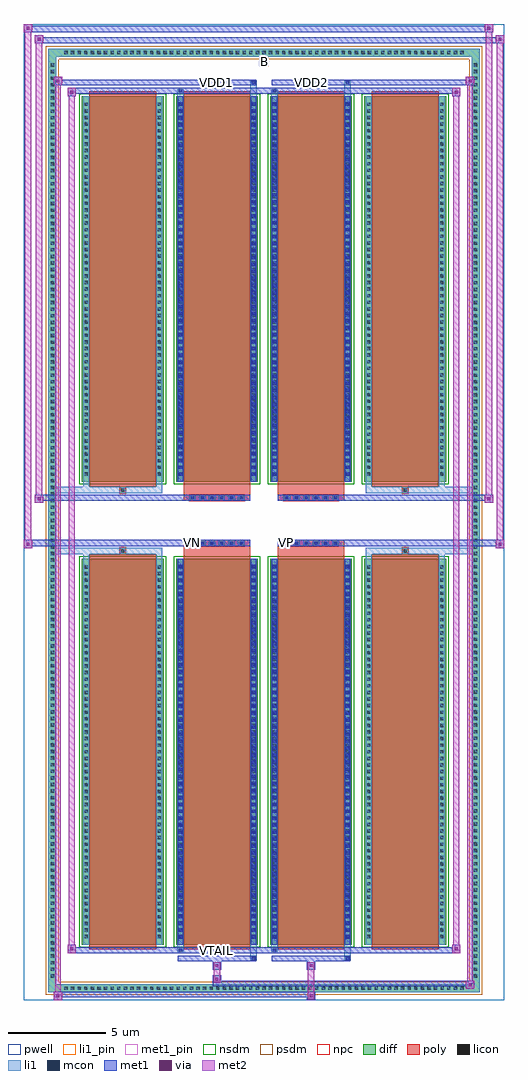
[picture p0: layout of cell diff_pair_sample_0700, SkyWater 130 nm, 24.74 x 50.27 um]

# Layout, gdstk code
import gdstk
lib = gdstk.Library(unit=1e-6, precision=5e-09)
def R(c, l, rs):  # rectangles x0, y0, x1, y1
    for r in rs: c.add(gdstk.rectangle(r[:2], r[2:], *l))
def A(c, l, x, y, w, h, nx, ny, dx, dy):  # array of equal rectangles
    R(c, l, [(x+i*dx, y+j*dy, x+i*dx+w, y+j*dy+h) for i in range(nx) for j in range(ny)])
def P(c, l, *ps):  # polygons
    for p in ps: c.add(gdstk.Polygon(p, *l))
pwell = (64, 44)
diff = (65, 20)
poly = (66, 20)
licon = (66, 44)
li1_pin = (67, 16)
li1 = (67, 20)
mcon = (67, 44)
met1_pin = (68, 16)
met1 = (68, 20)
via = (68, 44)
met2 = (69, 20)
nsdm = (93, 44)
psdm = (94, 20)
npc = (95, 20)

diff_pair_sample_0700 = lib.new_cell('diff_pair_sample_0700')
R(diff_pair_sample_0700, pwell, [(-12.37,-24.7,12.37,25.57), (-9.69,-22.89,-0.01,-0.805), (0.01,-22.89,9.69,-0.805), (-9.69,0.805,-0.01,22.89), (0.01,0.805,9.69,22.89)])
A(diff_pair_sample_0700, diff, -10.405, -24.3, 0.41, 0.41, 61, 2, 0.34, 48.19)
A(diff_pair_sample_0700, diff, -11.1, -23.665, 0.41, 0.41, 1, 139, 0, 0.34)
A(diff_pair_sample_0700, diff, 10.69, -23.665, 0.41, 0.41, 1, 139, 0, 0.34)
A(diff_pair_sample_0700, diff, -9.38, -21.845, 4.21, 19.86, 4, 2, 4.85, 23.83)
R(diff_pair_sample_0700, diff, [(-10.405,-24.3,10.405,-23.89), (-11.1,-23.665,-10.69,23.665), (10.69,-23.665,11.1,23.665), (-10.405,23.89,10.405,24.3)])
P(diff_pair_sample_0700, diff, [(11.1,24.3),(-11.1,24.3),(-11.1,-23.89),(-10.69,-23.89),(-10.69,23.89),(10.69,23.89),(10.69,-23.89),(-10.69,-23.89),(-11.1,-23.89),(-11.1,-24.3),(11.1,-24.3)])
A(diff_pair_sample_0700, poly, -8.99, -22.095, 3.43, 20.36, 4, 2, 4.85, 23.83)
A(diff_pair_sample_0700, poly, -3.84, -1.335, 0.33, 0.33, 6, 2, 0.5, 2.34)
A(diff_pair_sample_0700, poly, 1.01, -1.335, 0.33, 0.33, 6, 2, 0.5, 2.34)
R(diff_pair_sample_0700, poly, [(-7.44,-1.735,-7.11,-1.405), (-7.44,-1.735,-7.11,-1.405), (-4.14,-1.735,-0.71,-1.335), (0.71,-1.735,4.14,-1.335), (7.11,-1.735,7.44,-1.405), (7.11,-1.735,7.44,-1.405), (-4.14,-1.335,-0.71,-1.005), (0.71,-1.335,4.14,-1.005), (-4.14,1.005,-0.71,1.335), (0.71,1.005,4.14,1.335), (-4.14,1.335,-0.71,1.735), (0.71,1.335,4.14,1.735), (-7.44,1.405,-7.11,1.735), (-7.44,1.405,-7.11,1.735), (7.11,1.405,7.44,1.735), (7.11,1.405,7.44,1.735)])
A(diff_pair_sample_0700, licon, -10.285, -24.18, 0.17, 0.17, 61, 2, 0.34, 48.19)
A(diff_pair_sample_0700, licon, -10.98, -23.545, 0.17, 0.17, 1, 139, 0, 0.34)
A(diff_pair_sample_0700, licon, 10.81, -23.545, 0.17, 0.17, 1, 139, 0, 0.34)
A(diff_pair_sample_0700, licon, -9.24, -21.52, 0.17, 0.17, 1, 57, 0, 0.34)
A(diff_pair_sample_0700, licon, -5.48, -21.52, 0.17, 0.17, 1, 57, 0, 0.34)
A(diff_pair_sample_0700, licon, -4.39, -21.52, 0.17, 0.17, 1, 57, 0, 0.34)
A(diff_pair_sample_0700, licon, -0.63, -21.52, 0.17, 0.17, 1, 57, 0, 0.34)
A(diff_pair_sample_0700, licon, 0.46, -21.52, 0.17, 0.17, 1, 57, 0, 0.34)
A(diff_pair_sample_0700, licon, 4.22, -21.52, 0.17, 0.17, 1, 57, 0, 0.34)
A(diff_pair_sample_0700, licon, 5.31, -21.52, 0.17, 0.17, 1, 57, 0, 0.34)
A(diff_pair_sample_0700, licon, 9.07, -21.52, 0.17, 0.17, 1, 57, 0, 0.34)
A(diff_pair_sample_0700, licon, -3.76, -1.255, 0.17, 0.17, 6, 2, 0.5, 2.34)
A(diff_pair_sample_0700, licon, 1.09, -1.255, 0.17, 0.17, 6, 2, 0.5, 2.34)
A(diff_pair_sample_0700, licon, -9.24, 2.31, 0.17, 0.17, 1, 57, 0, 0.34)
A(diff_pair_sample_0700, licon, -5.48, 2.31, 0.17, 0.17, 1, 57, 0, 0.34)
A(diff_pair_sample_0700, licon, -4.39, 2.31, 0.17, 0.17, 1, 57, 0, 0.34)
A(diff_pair_sample_0700, licon, -0.63, 2.31, 0.17, 0.17, 1, 57, 0, 0.34)
A(diff_pair_sample_0700, licon, 0.46, 2.31, 0.17, 0.17, 1, 57, 0, 0.34)
A(diff_pair_sample_0700, licon, 4.22, 2.31, 0.17, 0.17, 1, 57, 0, 0.34)
A(diff_pair_sample_0700, licon, 5.31, 2.31, 0.17, 0.17, 1, 57, 0, 0.34)
A(diff_pair_sample_0700, licon, 9.07, 2.31, 0.17, 0.17, 1, 57, 0, 0.34)
R(diff_pair_sample_0700, licon, [(-7.36,-1.655,-7.19,-1.485), (7.19,-1.655,7.36,-1.485), (-7.36,1.485,-7.19,1.655), (7.19,1.485,7.36,1.655)])
R(diff_pair_sample_0700, li1_pin, [(-0.25,23.39,0.25,23.89)])
A(diff_pair_sample_0700, li1, -10.365, -24.26, 0.33, 0.33, 61, 2, 0.34, 48.19)
A(diff_pair_sample_0700, li1, -11.06, -23.625, 0.33, 0.33, 1, 139, 0, 0.34)
A(diff_pair_sample_0700, li1, 10.73, -23.625, 0.33, 0.33, 1, 139, 0, 0.34)
A(diff_pair_sample_0700, li1, -9.32, -21.6, 0.33, 0.33, 1, 57, 0, 0.34)
A(diff_pair_sample_0700, li1, -5.56, -21.6, 0.33, 0.33, 1, 57, 0, 0.34)
A(diff_pair_sample_0700, li1, -4.47, -21.6, 0.33, 0.33, 1, 57, 0, 0.34)
A(diff_pair_sample_0700, li1, -0.71, -21.6, 0.33, 0.33, 1, 57, 0, 0.34)
A(diff_pair_sample_0700, li1, 0.38, -21.6, 0.33, 0.33, 1, 57, 0, 0.34)
A(diff_pair_sample_0700, li1, 4.14, -21.6, 0.33, 0.33, 1, 57, 0, 0.34)
A(diff_pair_sample_0700, li1, 5.23, -21.6, 0.33, 0.33, 1, 57, 0, 0.34)
A(diff_pair_sample_0700, li1, 8.99, -21.6, 0.33, 0.33, 1, 57, 0, 0.34)
A(diff_pair_sample_0700, li1, -4.39, -21.54, 0.17, 0.17, 1, 54, 0, 0.36)
A(diff_pair_sample_0700, li1, -0.63, -21.54, 0.17, 0.17, 1, 54, 0, 0.36)
A(diff_pair_sample_0700, li1, 0.46, -21.54, 0.17, 0.17, 1, 54, 0, 0.36)
A(diff_pair_sample_0700, li1, 4.22, -21.54, 0.17, 0.17, 1, 54, 0, 0.36)
A(diff_pair_sample_0700, li1, -3.84, -1.335, 0.33, 0.33, 6, 2, 0.5, 2.34)
A(diff_pair_sample_0700, li1, 1.01, -1.335, 0.33, 0.33, 6, 2, 0.5, 2.34)
A(diff_pair_sample_0700, li1, -9.32, 2.23, 0.33, 0.33, 1, 57, 0, 0.34)
A(diff_pair_sample_0700, li1, -5.56, 2.23, 0.33, 0.33, 1, 57, 0, 0.34)
A(diff_pair_sample_0700, li1, -4.47, 2.23, 0.33, 0.33, 1, 57, 0, 0.34)
A(diff_pair_sample_0700, li1, -0.71, 2.23, 0.33, 0.33, 1, 57, 0, 0.34)
A(diff_pair_sample_0700, li1, 0.38, 2.23, 0.33, 0.33, 1, 57, 0, 0.34)
A(diff_pair_sample_0700, li1, 4.14, 2.23, 0.33, 0.33, 1, 57, 0, 0.34)
A(diff_pair_sample_0700, li1, 5.23, 2.23, 0.33, 0.33, 1, 57, 0, 0.34)
A(diff_pair_sample_0700, li1, 8.99, 2.23, 0.33, 0.33, 1, 57, 0, 0.34)
A(diff_pair_sample_0700, li1, -4.39, 2.29, 0.17, 0.17, 1, 54, 0, 0.36)
A(diff_pair_sample_0700, li1, -0.63, 2.29, 0.17, 0.17, 1, 54, 0, 0.36)
A(diff_pair_sample_0700, li1, 0.46, 2.29, 0.17, 0.17, 1, 54, 0, 0.36)
A(diff_pair_sample_0700, li1, 4.22, 2.29, 0.17, 0.17, 1, 54, 0, 0.36)
R(diff_pair_sample_0700, li1, [(-11.1,-24.3,-10.69,-23.89), (-11.1,-24.3,-10.69,-23.89), (-10.69,-24.3,10.69,-23.89), (10.69,-24.3,11.1,-23.89), (10.69,-24.3,11.1,-23.89), (-11.1,-23.89,-10.69,23.89), (10.69,-23.89,11.1,23.89), (-0.71,-22.65,-0.38,-21.845), (-0.63,-22.65,-0.46,-22.48), (4.14,-22.65,4.47,-21.845), (4.22,-22.65,4.39,-22.48), (-4.47,-22.22,-4.14,-21.845), (-4.39,-22.22,-4.22,-22.05), (0.38,-22.22,0.71,-21.845), (0.46,-22.22,0.63,-22.05), (-9.32,-21.845,-8.99,-1.985), (-5.56,-21.845,-5.23,-1.985), (-4.47,-21.845,-4.14,-1.985), (-0.71,-21.845,-0.38,-1.985), (0.38,-21.845,0.71,-1.985), (4.14,-21.845,4.47,-1.985), (5.23,-21.845,5.56,-1.985), (8.99,-21.845,9.32,-1.985), (-4.39,-21.54,-4.22,-2.29), (-0.63,-21.54,-0.46,-2.29), (0.46,-21.54,0.63,-2.29), (4.22,-21.54,4.39,-2.29), (-9.32,-1.985,-8.99,-1.405), (-5.56,-1.985,-5.23,-1.405), (5.23,-1.985,5.56,-1.405), (8.99,-1.985,9.32,-1.405), (-11.1,-1.735,-7.44,-1.405), (-9.32,-1.735,-7.44,-1.405), (-7.44,-1.735,-7.11,-1.405), (-7.11,-1.735,-5.23,-1.405), (5.23,-1.735,7.11,-1.405), (7.11,-1.735,7.44,-1.405), (7.11,-1.735,11.1,-1.405), (7.44,-1.735,9.32,-1.405), (-11.1,1.405,-7.44,1.735), (-9.32,1.405,-7.44,1.735), (-9.32,1.405,-8.99,1.985), (-7.44,1.405,-7.11,1.735), (-7.11,1.405,-5.23,1.735), (-5.56,1.405,-5.23,1.985), (5.23,1.405,7.11,1.735), (5.23,1.405,5.56,1.985), (7.11,1.405,7.44,1.735), (7.11,1.405,11.1,1.735), (7.44,1.405,9.32,1.735), (8.99,1.405,9.32,1.985), (-9.32,1.985,-8.99,21.845), (-5.56,1.985,-5.23,21.845), (-4.47,1.985,-4.14,21.845), (-0.71,1.985,-0.38,21.845), (0.38,1.985,0.71,21.845), (4.14,1.985,4.47,21.845), (5.23,1.985,5.56,21.845), (8.99,1.985,9.32,21.845), (-4.39,2.29,-4.22,21.54), (-0.63,2.29,-0.46,21.54), (0.46,2.29,0.63,21.54), (4.22,2.29,4.39,21.54), (-4.47,21.845,-4.14,22.22), (-0.71,21.845,-0.38,22.65), (0.38,21.845,0.71,22.22), (4.14,21.845,4.47,22.65), (-4.39,22.05,-4.22,22.22), (0.46,22.05,0.63,22.22), (-0.63,22.48,-0.46,22.65), (4.22,22.48,4.39,22.65), (-11.1,23.89,-10.69,24.3), (-11.1,23.89,-10.69,24.3), (-10.69,23.89,10.69,24.3), (10.69,23.89,11.1,24.3), (10.69,23.89,11.1,24.3)])
A(diff_pair_sample_0700, mcon, -4.39, -21.54, 0.17, 0.17, 1, 54, 0, 0.36)
A(diff_pair_sample_0700, mcon, -0.63, -21.54, 0.17, 0.17, 1, 54, 0, 0.36)
A(diff_pair_sample_0700, mcon, 0.46, -21.54, 0.17, 0.17, 1, 54, 0, 0.36)
A(diff_pair_sample_0700, mcon, 4.22, -21.54, 0.17, 0.17, 1, 54, 0, 0.36)
A(diff_pair_sample_0700, mcon, -3.76, -1.255, 0.17, 0.17, 6, 2, 0.5, 2.34)
A(diff_pair_sample_0700, mcon, 1.09, -1.255, 0.17, 0.17, 6, 2, 0.5, 2.34)
A(diff_pair_sample_0700, mcon, -4.39, 2.29, 0.17, 0.17, 1, 54, 0, 0.36)
A(diff_pair_sample_0700, mcon, -0.63, 2.29, 0.17, 0.17, 1, 54, 0, 0.36)
A(diff_pair_sample_0700, mcon, 0.46, 2.29, 0.17, 0.17, 1, 54, 0, 0.36)
A(diff_pair_sample_0700, mcon, 4.22, 2.29, 0.17, 0.17, 1, 54, 0, 0.36)
R(diff_pair_sample_0700, mcon, [(-0.63,-22.65,-0.46,-22.48), (4.22,-22.65,4.39,-22.48), (-4.39,-22.22,-4.22,-22.05), (0.46,-22.22,0.63,-22.05), (-4.39,22.05,-4.22,22.22), (0.46,22.05,0.63,22.22), (-0.63,22.48,-0.46,22.65), (4.22,22.48,4.39,22.65)])
R(diff_pair_sample_0700, met1_pin, [(-2.56,-22.26,-2.29,-21.99), (-3.81,-1.295,-3.54,-1.025), (1.04,-1.295,1.31,-1.025), (-2.56,22.44,-2.29,22.71), (2.29,22.44,2.56,22.71)])
A(diff_pair_sample_0700, met1, -4.45, -21.6, 0.29, 0.29, 1, 54, 0, 0.36)
A(diff_pair_sample_0700, met1, -0.69, -21.6, 0.29, 0.29, 1, 54, 0, 0.36)
A(diff_pair_sample_0700, met1, 0.4, -21.6, 0.29, 0.29, 1, 54, 0, 0.36)
A(diff_pair_sample_0700, met1, 4.16, -21.6, 0.29, 0.29, 1, 54, 0, 0.36)
A(diff_pair_sample_0700, met1, -3.82, -1.315, 0.29, 0.29, 6, 2, 0.5, 2.34)
A(diff_pair_sample_0700, met1, 1.03, -1.315, 0.29, 0.29, 6, 2, 0.5, 2.34)
A(diff_pair_sample_0700, met1, -4.45, 2.23, 0.29, 0.29, 1, 54, 0, 0.36)
A(diff_pair_sample_0700, met1, -0.69, 2.23, 0.29, 0.29, 1, 54, 0, 0.36)
A(diff_pair_sample_0700, met1, 0.4, 2.23, 0.29, 0.29, 1, 54, 0, 0.36)
A(diff_pair_sample_0700, met1, 4.16, 2.23, 0.29, 0.29, 1, 54, 0, 0.36)
R(diff_pair_sample_0700, met1, [(-10.83,-24.7,-10.4,-24.27), (2.21,-24.7,2.64,-24.27), (-10.83,-24.56,2.64,-24.27), (10.4,-24.13,10.83,-23.7), (-2.64,-23.99,10.83,-23.7), (-2.64,-23.85,-2.21,-23.42), (-2.64,-23.14,-2.21,-22.71), (2.21,-23.14,2.64,-22.71), (-4.45,-22.71,-0.4,-22.42), (-0.69,-22.71,-0.4,-22.42), (0.4,-22.71,4.45,-22.42), (4.16,-22.71,4.45,-22.42), (-10.12,-22.28,-9.69,-21.85), (-10.12,-22.28,-4.45,-21.99), (-4.45,-22.28,-4.16,-21.99), (-4.45,-22.28,-0.4,-21.99), (-0.4,-22.28,0.4,-21.99), (0.4,-22.28,0.69,-21.99), (0.4,-22.28,4.45,-21.99), (4.45,-22.28,10.12,-21.99), (9.69,-22.28,10.12,-21.85), (-4.45,-21.845,-4.16,-1.985), (-0.69,-21.845,-0.4,-1.985), (0.4,-21.845,0.69,-1.985), (4.16,-21.845,4.45,-1.985), (-12.37,-1.435,-11.94,-1.005), (11.94,-1.435,12.37,-1.005), (-12.37,-1.335,-0.71,-1.005), (-4.14,-1.335,-0.71,-1.005), (0.71,-1.335,4.14,-1.005), (0.71,-1.335,12.37,-1.005), (-11.8,0.905,-11.37,1.335), (11.37,0.905,11.8,1.335), (-11.8,1.005,-4.14,1.335), (-4.14,1.005,-0.71,1.335), (0.71,1.005,4.14,1.335), (4.14,1.005,11.8,1.335), (-4.45,1.985,-4.16,21.845), (-0.69,1.985,-0.4,21.845), (0.4,1.985,0.69,21.845), (4.16,1.985,4.45,21.845), (-10.12,21.85,-9.69,22.28), (9.69,21.85,10.12,22.28), (-10.12,21.99,-4.45,22.28), (-4.45,21.99,-4.16,22.28), (-4.45,21.99,-0.4,22.28), (-0.4,21.99,0.4,22.28), (0.4,21.99,0.69,22.28), (0.4,21.99,4.45,22.28), (4.45,21.99,10.12,22.28), (-10.83,22.42,-10.4,22.85), (-10.83,22.42,-4.45,22.71), (-4.45,22.42,-0.4,22.71), (-0.69,22.42,-0.4,22.71), (0.4,22.42,4.45,22.71), (4.16,22.42,4.45,22.71), (4.45,22.42,10.83,22.71), (10.4,22.42,10.83,22.85), (-11.8,24.57,-11.37,25), (-11.8,24.57,-9.69,24.9), (-9.69,24.57,9.69,24.9), (9.69,24.57,12.37,24.9), (11.94,24.57,12.37,25), (-12.37,25.14,-11.94,25.57), (-12.37,25.14,-9.69,25.47), (-9.69,25.14,9.69,25.47), (9.69,25.14,11.8,25.47), (11.37,25.14,11.8,25.57)])
R(diff_pair_sample_0700, via, [(-10.69,-24.56,-10.54,-24.41), (2.35,-24.56,2.5,-24.41), (10.54,-23.99,10.69,-23.84), (-2.5,-23.71,-2.35,-23.56), (-2.5,-23,-2.35,-22.85), (2.35,-23,2.5,-22.85), (-9.98,-22.14,-9.83,-21.99), (9.83,-22.14,9.98,-21.99), (-12.23,-1.295,-12.08,-1.145), (12.08,-1.295,12.23,-1.145), (-11.66,1.045,-11.51,1.195), (11.51,1.045,11.66,1.195), (-9.98,21.99,-9.83,22.14), (9.83,21.99,9.98,22.14), (-10.69,22.56,-10.54,22.71), (10.54,22.56,10.69,22.71), (-11.66,24.71,-11.51,24.86), (12.08,24.71,12.23,24.86), (-12.23,25.28,-12.08,25.43), (11.51,25.28,11.66,25.43)])
R(diff_pair_sample_0700, met2, [(-10.83,-24.7,-10.4,-24.27), (-10.76,-24.7,-10.47,22.85), (-10.47,-24.7,-10.4,-24.27), (-10.78,-24.65,-10.45,-24.32), (2.26,-24.65,2.59,-24.32), (2.26,-24.32,2.59,-23.09), (10.4,-24.13,10.83,-23.7), (10.47,-24.13,10.76,22.85), (10.76,-24.13,10.83,-23.7), (10.45,-24.08,10.78,-23.75), (-2.59,-23.8,-2.26,-23.47), (-2.59,-23.47,-2.26,-23.09), (-2.59,-23.09,-2.26,-22.76), (2.26,-23.09,2.59,-22.76), (-10.12,-22.28,-9.69,-21.85), (-10.05,-22.28,-9.76,22.28), (-9.76,-22.28,-9.69,-21.85), (9.69,-22.28,10.12,-21.85), (9.76,-22.28,10.05,22.28), (10.05,-22.28,10.12,-21.85), (-10.07,-22.23,-9.74,-21.9), (9.74,-22.23,10.07,-21.9), (-12.37,-1.435,-11.94,-1.005), (-12.32,-1.435,-11.99,25.57), (-11.99,-1.435,-11.94,-1.005), (11.94,-1.435,12.37,-1.005), (11.99,-1.435,12.32,25), (12.32,-1.435,12.37,-1.005), (-12.32,-1.385,-11.99,-1.055), (11.99,-1.385,12.32,-1.055), (-11.8,0.905,-11.37,1.335), (-11.75,0.905,-11.42,25), (-11.42,0.905,-11.37,1.335), (11.37,0.905,11.8,1.335), (11.42,0.905,11.75,25.57), (11.75,0.905,11.8,1.335), (-11.75,0.955,-11.42,1.285), (11.42,0.955,11.75,1.285), (-10.12,21.85,-9.69,22.28), (-9.76,21.85,-9.69,22.28), (9.69,21.85,10.12,22.28), (10.05,21.85,10.12,22.28), (-10.07,21.9,-9.74,22.23), (9.74,21.9,10.07,22.23), (-10.83,22.42,-10.4,22.85), (-10.47,22.42,-10.4,22.85), (10.4,22.42,10.83,22.85), (10.76,22.42,10.83,22.85), (-10.78,22.47,-10.45,22.8), (10.45,22.47,10.78,22.8), (-11.8,24.57,-11.37,25), (-11.42,24.57,-11.37,25), (11.94,24.57,12.37,25), (12.32,24.57,12.37,25), (-11.75,24.62,-11.42,24.95), (11.99,24.62,12.32,24.95), (-12.37,25.14,-11.94,25.57), (-11.99,25.14,-11.94,25.57), (11.37,25.14,11.8,25.57), (11.75,25.14,11.8,25.57), (-12.32,25.19,-11.99,25.52), (11.42,25.19,11.75,25.52)])
A(diff_pair_sample_0700, nsdm, -9.51, -21.975, 4.47, 20.12, 4, 2, 4.85, 23.83)
P(diff_pair_sample_0700, psdm, [(11.23,24.43),(-11.23,24.43),(-11.23,-23.76),(-10.56,-23.76),(-10.56,23.76),(10.56,23.76),(10.56,-23.76),(-10.56,-23.76),(-11.23,-23.76),(-11.23,-24.43),(11.23,-24.43)])
A(diff_pair_sample_0700, npc, -3.86, -1.355, 0.37, 0.37, 6, 2, 0.5, 2.34)
A(diff_pair_sample_0700, npc, 0.99, -1.355, 0.37, 0.37, 6, 2, 0.5, 2.34)
R(diff_pair_sample_0700, npc, [(-7.46,-1.755,-7.09,-1.385), (7.09,-1.755,7.46,-1.385), (-3.86,-1.355,-2.99,-0.985), (-3.86,-1.355,-2.99,-0.985), (-3.36,-1.355,-2.49,-0.985), (-3.36,-1.355,-2.49,-0.985), (-2.86,-1.355,-1.99,-0.985), (-2.86,-1.355,-1.99,-0.985), (-2.36,-1.355,-1.49,-0.985), (-2.36,-1.355,-1.49,-0.985), (-1.86,-1.355,-0.99,-0.985), (-1.86,-1.355,-0.99,-0.985), (0.99,-1.355,1.86,-0.985), (0.99,-1.355,1.86,-0.985), (1.49,-1.355,2.36,-0.985), (1.49,-1.355,2.36,-0.985), (1.99,-1.355,2.86,-0.985), (1.99,-1.355,2.86,-0.985), (2.49,-1.355,3.36,-0.985), (2.49,-1.355,3.36,-0.985), (2.99,-1.355,3.86,-0.985), (2.99,-1.355,3.86,-0.985), (-3.86,0.985,-2.99,1.355), (-3.86,0.985,-2.99,1.355), (-3.36,0.985,-2.49,1.355), (-3.36,0.985,-2.49,1.355), (-2.86,0.985,-1.99,1.355), (-2.86,0.985,-1.99,1.355), (-2.36,0.985,-1.49,1.355), (-2.36,0.985,-1.49,1.355), (-1.86,0.985,-0.99,1.355), (-1.86,0.985,-0.99,1.355), (0.99,0.985,1.86,1.355), (0.99,0.985,1.86,1.355), (1.49,0.985,2.36,1.355), (1.49,0.985,2.36,1.355), (1.99,0.985,2.86,1.355), (1.99,0.985,2.86,1.355), (2.49,0.985,3.36,1.355), (2.49,0.985,3.36,1.355), (2.99,0.985,3.86,1.355), (2.99,0.985,3.86,1.355), (-7.46,1.385,-7.09,1.755), (7.09,1.385,7.46,1.755)])
diff_pair_sample_0700.add(gdstk.Label('VTAIL', (-2.425,-22.125), layer=68, texttype=5))
diff_pair_sample_0700.add(gdstk.Label('VN', (-3.675,-1.16), layer=68, texttype=5))
diff_pair_sample_0700.add(gdstk.Label('VP', (1.175,-1.16), layer=68, texttype=5))
diff_pair_sample_0700.add(gdstk.Label('B', (0,23.64), layer=67, texttype=5))
diff_pair_sample_0700.add(gdstk.Label('VDD2', (2.425,22.575), layer=68, texttype=5))
diff_pair_sample_0700.add(gdstk.Label('VDD1', (-2.425,22.575), layer=68, texttype=5))

lib.write_gds('diff_pair_sample_0700.gds')
